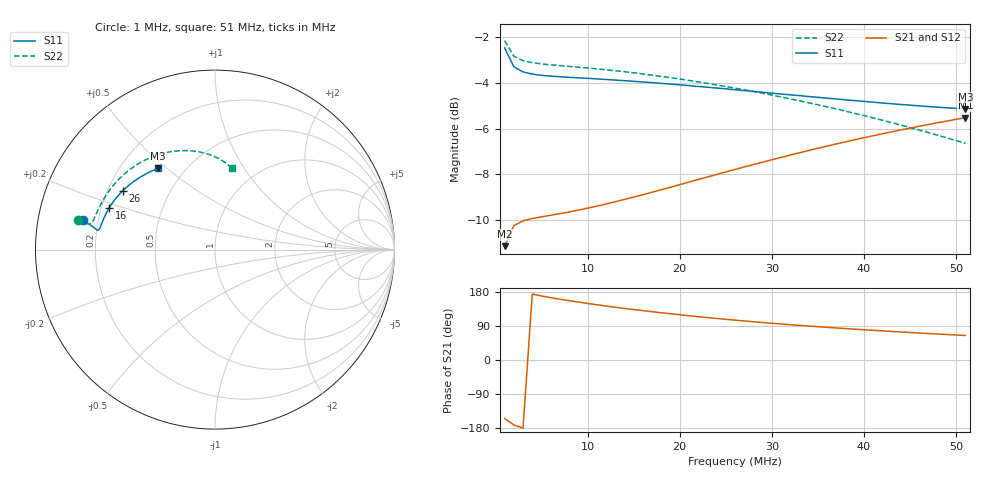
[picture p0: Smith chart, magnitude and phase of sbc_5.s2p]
# MHz S RI R 50
! S-Parameters data
! Freq  reS11  imS11  reS21  imS21  reS12  imS12  reS22  imS22
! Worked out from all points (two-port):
!   51 points, 1 MHz to 51 MHz, reference 50 ohm
!   highest |S21| = -5.52 dB at 51 MHz (marker M1); lowest = -11.1 dB at 1 MHz (marker M2)
!   |S21| within 3 dB of the highest: 19.3 MHz to end of sweep
!   lowest |S11| = -5.1 dB at 51 MHz (marker M3), VSWR 3.48, Z = 17.9 + j23.4 ohm
!   |S11| at or under -10 dB: nowhere
!   |S22| runs from -6.6 to -2.2 dB; largest |S21 - S12| = 0.0022
!   S11 on the Smith chart (normalised r, x): 1 MHz: 0.14, +0.11; 16 MHz: 0.23, +0.18; 26 MHz: 0.26, +0.27; 51 MHz: 0.36, +0.47
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1  -0.7332 0.1646  -0.2502 -0.1207  -0.2485 -0.1203  -0.7629 0.1634
2  -0.6728 0.1219  -0.3044 -0.0465  -0.3026 -0.0468  -0.7066 0.142
3  -0.6572 0.1088  -0.3154 -0.00058  -0.3137 -0.00101  -0.6895 0.1462
4  -0.65 0.1084  -0.3174 0.0332  -0.3158 0.0327  -0.6789 0.161
6  -0.641 0.1213  -0.3126 0.0866  -0.3112 0.0855  -0.6601 0.2025
8  -0.6328 0.1414  -0.3025 0.1314  -0.3011 0.13  -0.6384 0.2481
10  -0.6239 0.1641  -0.289 0.1717  -0.2878 0.1702  -0.6128 0.2937
14  -0.6019 0.2103  -0.2533 0.2432  -0.253 0.2411  -0.5497 0.3777
16  -0.5891 0.2327  -0.2327 0.2741  -0.2323 0.2726  -0.5139 0.4129
18  -0.5754 0.2543  -0.2099 0.3031  -0.2098 0.3016  -0.4754 0.4454
20  -0.5608 0.2747  -0.1857 0.3296  -0.1859 0.3278  -0.4351 0.4734
22  -0.5453 0.2939  -0.1603 0.3535  -0.1606 0.3518  -0.3932 0.497
24  -0.5294 0.3117  -0.1339 0.3749  -0.1344 0.3732  -0.3507 0.5162
26  -0.5132 0.3284  -0.107 0.3939  -0.1077 0.3925  -0.3086 0.531
28  -0.4966 0.344  -0.0796 0.4109  -0.0807 0.4093  -0.2669 0.5416
30  -0.4799 0.3582  -0.0521 0.4254  -0.0532 0.4242  -0.2257 0.5483
33  -0.4552 0.3777  -0.0106 0.4439  -0.0119 0.4429  -0.1664 0.5517
35  -0.4385 0.3894  0.017 0.4538  0.0156 0.453  -0.1286 0.55
39  -0.4059 0.4099  0.0716 0.4686  0.0702 0.4681  -0.0588 0.5377
43  -0.3746 0.4267  0.1248 0.4771  0.1234 0.477  0.00143 0.5164
47  -0.3449 0.441  0.1762 0.4803  0.175 0.4806  0.0519 0.4884
51  -0.3171 0.4532  0.2258 0.479  0.2247 0.4794  0.0923 0.4563
